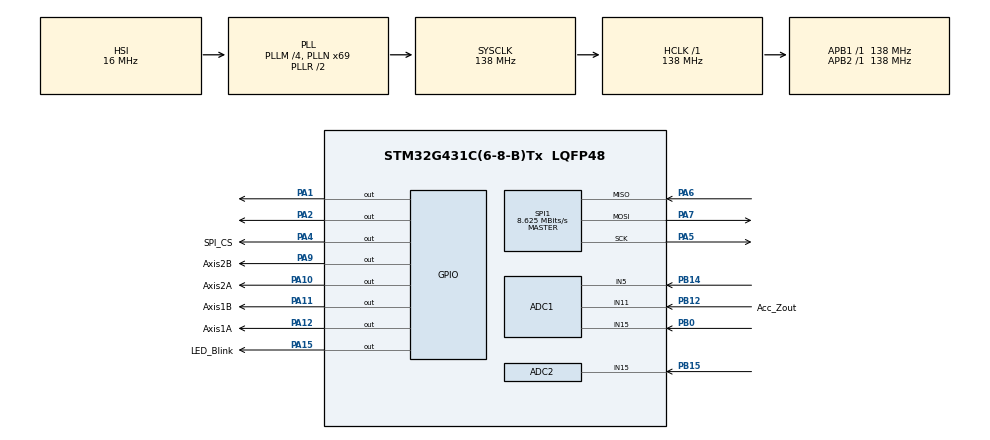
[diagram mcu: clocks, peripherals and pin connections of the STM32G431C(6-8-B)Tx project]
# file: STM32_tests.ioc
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ADC1.Channel-0\#ChannelRegularConversion=ADC_CHANNEL_11
ADC1.ClockPrescaler=ADC_CLOCK_ASYNC_DIV4
ADC1.ContinuousConvMode=ENABLE
ADC1.DMAContinuousRequests=ENABLE
ADC1.NbrOfConversionFlag=1
ADC1.OffsetNumber-0\#ChannelRegularConversion=ADC_OFFSET_NONE
ADC1.OversamplingMode=ENABLE
ADC1.Rank-0\#ChannelRegularConversion=1
ADC1.Ratio=ADC_OVERSAMPLING_RATIO_256
ADC1.RightBitShift=ADC_RIGHTBITSHIFT_4
ADC1.SamplingTime-0\#ChannelRegularConversion=ADC_SAMPLETIME_2CYCLES_5
ADC1.master=1
ADC2.Channel-1\#ChannelRegularConversion=ADC_CHANNEL_15
ADC2.ClockPrescaler=ADC_CLOCK_ASYNC_DIV4
ADC2.ContinuousConvMode=ENABLE
ADC2.NbrOfConversionFlag=1
ADC2.OffsetNumber-1\#ChannelRegularConversion=ADC_OFFSET_NONE
ADC2.OversamplingMode=ENABLE
ADC2.Rank-1\#ChannelRegularConversion=1
ADC2.Ratio=ADC_OVERSAMPLING_RATIO_256
ADC2.RightBitShift=ADC_RIGHTBITSHIFT_4
ADC2.SamplingTime-1\#ChannelRegularConversion=ADC_SAMPLETIME_2CYCLES_5
Dma.ADC1.0.Direction=DMA_PERIPH_TO_MEMORY
Dma.ADC1.0.EventEnable=DISABLE
Dma.ADC1.0.Instance=DMA1_Channel1
Dma.ADC1.0.MemDataAlignment=DMA_MDATAALIGN_HALFWORD
Dma.ADC1.0.MemInc=DMA_MINC_ENABLE
Dma.ADC1.0.Mode=DMA_CIRCULAR
Dma.ADC1.0.PeriphDataAlignment=DMA_PDATAALIGN_HALFWORD
Dma.ADC1.0.PeriphInc=DMA_PINC_DISABLE
Dma.ADC1.0.Polarity=HAL_DMAMUX_REQ_GEN_RISING
Dma.ADC1.0.Priority=DMA_PRIORITY_MEDIUM
Dma.ADC1.0.RequestNumber=1
Dma.ADC1.0.SignalID=NONE
Dma.ADC1.0.SyncEnable=DISABLE
Dma.ADC1.0.SyncPolarity=HAL_DMAMUX_SYNC_NO_EVENT
Dma.ADC1.0.SyncRequestNumber=1
Dma.ADC1.0.SyncSignalID=NONE
Dma.Request0=ADC1
Mcu.Family=STM32G4
Mcu.Name=STM32G431C(6-8-B)Tx
Mcu.Package=LQFP48
NVIC.DMA1_Channel1_IRQn=true\:0\:0\:false\:false\:true\:false\:true\:true
NVIC.PriorityGroup=NVIC_PRIORITYGROUP_4
NVIC.TIM6_DAC_IRQn=true\:0\:0\:false\:false\:true\:true\:true\:true
NVIC.TIM7_IRQn=true\:0\:0\:false\:false\:true\:true\:true\:true
PA1.Signal=GPIO_Output
PA10.GPIO_Label=Axis2A
PA10.Signal=GPIO_Output
PA11.GPIO_Label=Axis1B
PA11.Signal=GPIO_Output
PA12.GPIO_Label=Axis1A
PA12.Signal=GPIO_Output
PA13.Mode=Serial_Wire
PA13.Signal=SYS_JTMS-SWDIO
PA14.Mode=Serial_Wire
PA14.Signal=SYS_JTCK-SWCLK
PA15.GPIO_Label=LED_Blink
PA15.Signal=GPIO_Output
PA2.Signal=GPIO_Output
PA4.GPIO_Label=SPI_CS
PA4.Signal=GPIO_Output
PA5.Mode=Full_Duplex_Master
PA5.Signal=SPI1_SCK
PA6.Mode=Full_Duplex_Master
PA6.Signal=SPI1_MISO
PA7.Mode=Full_Duplex_Master
PA7.Signal=SPI1_MOSI
PA9.GPIO_Label=Axis2B
PA9.Signal=GPIO_Output
PB0.Mode=IN15-Single-Ended
PB0.Signal=ADC1_IN15
PB12.GPIO_Label=Acc_Zout
PB12.Mode=IN11-Single-Ended
PB12.Signal=ADC1_IN11
PB14.Mode=IN5-Single-Ended
PB14.Signal=ADC1_IN5
PB15.Mode=IN15-Single-Ended
PB15.Signal=ADC2_IN15
ProjectManager.HeapSize=0x200
ProjectManager.StackSize=0x400
ProjectManager.TargetToolchain=STM32CubeIDE
RCC.ADC12Freq_Value=138000000
RCC.AHBFreq_Value=138000000
RCC.APB1Freq_Value=138000000
RCC.APB1TimFreq_Value=138000000
RCC.APB2Freq_Value=138000000
RCC.APB2TimFreq_Value=138000000
RCC.CortexFreq_Value=138000000
RCC.EXTERNAL_CLOCK_VALUE=12288000
RCC.HCLKFreq_Value=138000000
RCC.HSE_VALUE=8000000
RCC.HSI48_VALUE=48000000
RCC.HSI_VALUE=16000000
RCC.LSE_VALUE=32768
RCC.PLLM=RCC_PLLM_DIV4
RCC.PLLN=69
RCC.SYSCLKFreq_VALUE=138000000
RCC.SYSCLKSource=RCC_SYSCLKSOURCE_PLLCLK
RCC.USBFreq_Value=138000000
RCC.VCOOutputFreq_Value=276000000
SPI1.BaudRatePrescaler=SPI_BAUDRATEPRESCALER_16
SPI1.CalculateBaudRate=8.625 MBits/s
SPI1.DataSize=SPI_DATASIZE_8BIT
SPI1.Direction=SPI_DIRECTION_2LINES
SPI1.Mode=SPI_MODE_MASTER
SPI1.NSSPMode=SPI_NSS_PULSE_DISABLE
SPI1.VirtualType=VM_MASTER
TIM6.PeriodNoDither=2874
TIM6.Prescaler=74
TIM7.PeriodNoDither=1999
TIM7.Prescaler=9
VP_SYS_VS_DBSignals.Mode=DisableDeadBatterySignals
VP_TIM6_VS_ClockSourceINT.Mode=Enable_Timer
VP_TIM7_VS_ClockSourceINT.Mode=Enable_Timer
board=custom

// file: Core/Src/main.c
/* USER CODE BEGIN Header */
/**
  ******************************************************************************
  * @file           : main.c
  * @brief          : Main program body — Kalman filter + quadrature output
  ******************************************************************************
  */
/* USER CODE END Header */

#include "main.h"

/* USER CODE BEGIN Includes */
#include "kalman.h"
#include "quadrature_output.h"
#include "stm32g4xx_it.h"
#include <math.h>
/* USER CODE END Includes */

/* USER CODE BEGIN PD */
#define CLOCK_SPEED 138000000.0f
/* USER CODE END PD */

ADC_HandleTypeDef hadc1;
ADC_HandleTypeDef hadc2;
DMA_HandleTypeDef hdma_adc1;
DMA_HandleTypeDef hdma_adc2;   /* CubeMX omitted this — added back */

SPI_HandleTypeDef hspi1;

TIM_HandleTypeDef htim6;
TIM_HandleTypeDef htim7;

/* USER CODE BEGIN PV */
/* --- Accelerometer (ADC, DMA) --- */
/* Calibration: zero-g offset (16-bit counts) and sensitivity (counts/g)
 * Measured on hardware at 138 MHz, ADC_CLOCK_ASYNC_DIV4, 256x oversample >>4 */
#define ACCEL_X_ZERO_G  17286
#define ACCEL_X_SENS    3887.0f
#define ACCEL_Y_ZERO_G  17899
#define ACCEL_Y_SENS    3971.0f
#define ACCEL_Z_ZERO_G  17899
#define ACCEL_Z_SENS    3971.0f

volatile uint16_t adc_buf[2] = {0};  /* [0]=Y (CH5/PB14), [1]=Z (CH11/PB12) */
volatile uint16_t adc_x      = 0;    /* X  (CH15/PB15, ADC2) */
volatile float    accel_x    = 0.0f;
volatile float    accel_y    = 0.0f;
volatile float    accel_z    = 0.0f;

/* --- Gyroscope (SPI, ICM-42688 or compatible) --- */
#define MAX_CODE			 32768.0
#define MAX_DPS				 250
#define SENSITIVITY			 (float) MAX_CODE / MAX_DPS

#define IMU_REG_PWR_MGMT_1   0x6B
#define IMU_REG_USER_CTRL    0x6A

#define IMU_REG_WHO_AM_I     0x75
#define IMU_WHO_AM_I_VAL     0xB5

#define IMU_REG_GYRO_XOUT_H  0x43

#define IMU_CS_PORT          GPIOA
#define IMU_CS_PIN           SPI_CS_Pin
#define IMU_CS_LOW()         HAL_GPIO_WritePin(IMU_CS_PORT, IMU_CS_PIN, GPIO_PIN_RESET)
#define IMU_CS_HIGH()        HAL_GPIO_WritePin(IMU_CS_PORT, IMU_CS_PIN, GPIO_PIN_SET)

volatile uint8_t who_am_i = 0;
static volatile float   gyro_x   = 0.0f;  /* deg/s */
static volatile float   gyro_y   = 0.0f;
static volatile float   gyro_z   = 0.0f;

/* --- Loggers --- */
#define LOG_SIZE 512

static volatile uint32_t log_idx = 0;
static volatile float log_dt[LOG_SIZE];
static volatile float log_roll[LOG_SIZE];
static volatile float log_pitch[LOG_SIZE];
static volatile float log_gyro_x[LOG_SIZE];
static volatile float log_gyro_y[LOG_SIZE];
static volatile float log_gyro_z[LOG_SIZE];
static volatile float log_accel_x[LOG_SIZE];
static volatile float log_accel_y[LOG_SIZE];
static volatile float log_accel_z[LOG_SIZE];
static volatile int   log_axis1_a[LOG_SIZE];
static volatile int   log_axis1_b[LOG_SIZE];

static volatile float log_dt_s;
static volatile float log_roll_s;
static volatile float log_pitch_s;
static volatile float log_gyro_x_s;
static volatile float log_gyro_y_s;
static volatile float log_gyro_z_s;
static volatile float log_accel_x_s;
static volatile float log_accel_y_s;
static volatile float log_accel_z_s;
static volatile int   log_axis1_a_s;
static volatile int   log_axis1_b_s;

/* --- I2C (to Arduino) --- */
#define SLAVE_ADDRESS 0x48
typedef struct __attribute__((packed)) {
    uint8_t header;      // always 0xAA
    uint8_t counter;     // increments every packet
    int16_t pitch_x100;  // pitch in degrees * 100
    int16_t roll_x100;   // roll in degrees * 100
} imu_packet_t;

/* USER CODE END PV */

void SystemClock_Config(void);
static void MX_GPIO_Init(void);
static void MX_DMA_Init(void);
static void MX_ADC1_Init(void);
static void MX_SPI1_Init(void);
static void MX_ADC2_Init(void);
static void MX_TIM6_Init(void);
static void MX_TIM7_Init(void);

/* USER CODE BEGIN PFP */
static void     DWT_Init(void);
static float    ComputeKalmanDT(void);
static uint8_t  IMU_ReadReg(uint8_t reg);
static void     IMU_WriteReg(uint8_t reg, uint8_t data);
static void     IMU_ReadBurst(uint8_t reg, uint8_t *buf, uint8_t len);
/* USER CODE END PFP */

/* USER CODE BEGIN 0 */

/* --- ADC conversion complete callback (called from DMA ISR) --- */
void HAL_ADC_ConvCpltCallback(ADC_HandleTypeDef *hadc)
{
    if (hadc->Instance == ADC1)
    {
        accel_y = ((float)adc_buf[0] - ACCEL_Y_ZERO_G) / ACCEL_Y_SENS;
        accel_z = ((float)adc_buf[1] - ACCEL_Z_ZERO_G) / ACCEL_Z_SENS;
    }
    else if (hadc->Instance == ADC2)
    {
        accel_x = ((float)adc_x - ACCEL_X_ZERO_G) / ACCEL_X_SENS;
    }
}

/* --- SPI / IMU helpers --- */
static void IMU_WriteReg(uint8_t reg, uint8_t data)
{
    uint8_t tx[2] = { reg & 0x7F, data };
    IMU_CS_LOW();
    HAL_SPI_Transmit(&hspi1, tx, 2, HAL_MAX_DELAY);
    IMU_CS_HIGH();
}

static uint8_t IMU_ReadReg(uint8_t reg)
{
    uint8_t tx[2] = { reg | 0x80, 0x00 };
    uint8_t rx[2] = { 0x00, 0x00 };
    IMU_CS_LOW();
    HAL_SPI_TransmitReceive(&hspi1, tx, rx, 2, HAL_MAX_DELAY);
    IMU_CS_HIGH();
    return rx[1];
}

static void IMU_ReadBurst(uint8_t reg, uint8_t *buf, uint8_t len)
{
    uint8_t addr = reg | 0x80;
    IMU_CS_LOW();
    HAL_SPI_Transmit(&hspi1, &addr, 1, HAL_MAX_DELAY);
    HAL_SPI_Receive(&hspi1, buf, len, HAL_MAX_DELAY);
    IMU_CS_HIGH();
}

/* --- DWT cycle counter for precise dt --- */
static void DWT_Init(void)
{
    CoreDebug->DEMCR |= CoreDebug_DEMCR_TRCENA_Msk;
    DWT->CYCCNT = 0;
    DWT->CTRL  |= DWT_CTRL_CYCCNTENA_Msk;
}

static float ComputeKalmanDT(void)
{
    static uint32_t last_tick  = 0;
    static bool     initialized = false;
    uint32_t now = DWT->CYCCNT;
    if (!initialized) { last_tick = now; initialized = true; return 0.0f; }
    float dt = (float)(now - last_tick) / CLOCK_SPEED;
    last_tick = now;
    return dt;
}

/* USER CODE END 0 */

/* =========================================================================
 * main
 * ========================================================================= */
int main(void)
{

  HAL_Init();

  SystemClock_Config();

  /* USER CODE BEGIN SysInit */
  DWT_Init();
  /* USER CODE END SysInit */

  MX_GPIO_Init();
  MX_DMA_Init();
  MX_ADC1_Init();
  MX_SPI1_Init();
  MX_ADC2_Init();
  MX_TIM6_Init();
  MX_TIM7_Init();

  /* USER CODE BEGIN 2 */

  /* Start timers (interrupt mode) */
  HAL_TIM_Base_Start_IT(&htim6);   /* 640  Hz — Kalman flag */
  HAL_TIM_Base_Start_IT(&htim7);   /* 6900 Hz — Quad flag   */

  /* Calibrate and start ADC DMA */
  HAL_ADCEx_Calibration_Start(&hadc1, ADC_SINGLE_ENDED);
  HAL_ADCEx_Calibration_Start(&hadc2, ADC_SINGLE_ENDED);
  HAL_ADC_Start_DMA(&hadc1, (uint32_t*)adc_buf, 2);
  HAL_ADC_Start_DMA(&hadc2, (uint32_t*)&adc_x,  1);

  /* IMU init */
  IMU_CS_HIGH();
  HAL_Delay(100);
  who_am_i = IMU_ReadReg(IMU_REG_WHO_AM_I);

  if (who_am_i == IMU_WHO_AM_I_VAL)
  {
	  // RESET + CLKSEL
	  IMU_WriteReg(0x6B, 0x80);
	  HAL_Delay(100);
	  IMU_WriteReg(0x6B, 0x01);
	  HAL_Delay(50);

      IMU_WriteReg(IMU_REG_USER_CTRL, 0x10);    /* disable I2C */
      IMU_WriteReg(0x6C, 0x00);   // PWR_MGMT_2: enable all gyro axes (XG, YG, ZG)
      IMU_WriteReg(0x1A, 0x05);   // CONFIG: DLPF_CFG=5, 10 Hz BW, 1 kHz internal rate
      IMU_WriteReg(0x1B, 0x00);   // GYRO_CONFIG: FS_SEL=0 (±250 dps), DLPF enabled
      IMU_WriteReg(0x19, 0x00);   // SMPLRT_DIV=0 -> 1000 Hz output rate
      HAL_Delay(50);              // Final settle
  }

  /* Kalman filter structures */
  StateVector            state_vector            = StateVector_Construct();
  ErrorCovarianceMatrix  error_covariance_matrix = ErrorCovarianceMatrix_Construct();
  const ProcessNoiseMatrix     process_noise_matrix     = ProcessNoiseMatrix_Construct();
  const MeasurementNoiseMatrix measurement_noise_matrix = MeasurementNoiseMatrix_Construct();

  /* Quadrature output — 4096 CPR, 1 axis (pitch) */
  QuadratureOutput quad_pkg = QuadratureOutput_Construct(4096, 1);
  QuadratureOutput_Initialize(&quad_pkg, 0.0, 0.0);

  HAL_GPIO_TogglePin(GPIOA, LED_Blink_Pin);   /* signal init complete */

  /* USER CODE END 2 */

  while (1)
  {

  /* USER CODE BEGIN 3 */
	imu_packet_t packet;
	packet.header = 0xAA;
	packet.counter = 0;

    /* ---- Quadrature output @ ~6900 Hz ---- */
	/* ---- Kalman filter @ 640 Hz ---- */
	if (GetKalmanReady()) {
		GyroSample gyro_sample = {0};
		AccelSample accel_sample = {0};

		float dt = ComputeKalmanDT();
		if (dt > 0.0f) {
			/* Read gyro (deg/s → rad/s) */
			if (who_am_i == IMU_WHO_AM_I_VAL) {
				uint8_t buf[6];
				IMU_ReadBurst(IMU_REG_GYRO_XOUT_H, buf, 6);
				gyro_x = (int16_t)((buf[0] << 8) | buf[1]);
				gyro_y = (int16_t)((buf[2] << 8) | buf[3]);
				gyro_z = (int16_t)((buf[4] << 8) | buf[5]);
				gyro_sample.gx = (float)gyro_x / SENSITIVITY * (M_PI / 180.0f);
				gyro_sample.gy = (float)gyro_y / SENSITIVITY * (M_PI / 180.0f);
				gyro_sample.gz = (float)gyro_z / SENSITIVITY * (M_PI / 180.0f);
			}

			/* Read accelerometer (already in g, updated by DMA callback) */
			accel_sample.ax = accel_x;
			accel_sample.ay = accel_y;
			accel_sample.az = accel_z;

			/* Run Kalman filter */
			kalman_run(dt,
					   &state_vector,
					   &error_covariance_matrix,
					   &gyro_sample,
					   &accel_sample,
					   &process_noise_matrix,
					   &measurement_noise_matrix);
		}

        /* Convert pitch (rad) to degrees for quadrature output */
        double pitch_deg = (double)state_vector.vector[PITCH] * (180.0 / M_PI);
        QuadratureOutput_Update(&quad_pkg, pitch_deg, 0.0);

        if(log_idx > LOG_SIZE) {
        	int help = 100;
        }
        else if (log_idx == 0) {
            log_dt[log_idx] = dt;

            log_roll[log_idx] = state_vector.vector[ROLL] * (180.0 / M_PI);;
            log_pitch[log_idx] = state_vector.vector[PITCH] * (180.0 / M_PI);;

            log_gyro_x[log_idx] = gyro_sample.gx;
            log_gyro_y[log_idx] = gyro_sample.gy;
            log_gyro_z[log_idx] = gyro_sample.gz;

            log_accel_x[log_idx] = accel_sample.ax;
            log_accel_y[log_idx] = accel_sample.ay;
            log_accel_z[log_idx] = accel_sample.az;

            log_axis1_a[log_idx] = quad_pkg.axis1.channel_a;
            log_axis1_b[log_idx] = quad_pkg.axis1.channel_b;

    		log_idx++;
        }
        else if (log_axis1_a[log_idx-1] == quad_pkg.axis1.channel_a && log_axis1_b[log_idx-1] == quad_pkg.axis1.channel_b ) {
        	// SKIP
        }
        else {
            log_dt[log_idx] = dt;

            log_roll[log_idx] = state_vector.vector[ROLL] * (180.0 / M_PI);;
            log_pitch[log_idx] = state_vector.vector[PITCH] * (180.0 / M_PI);;

            log_gyro_x[log_idx] = gyro_sample.gx;
            log_gyro_y[log_idx] = gyro_sample.gy;
            log_gyro_z[log_idx] = gyro_sample.gz;

            log_accel_x[log_idx] = accel_sample.ax;
            log_accel_y[log_idx] = accel_sample.ay;
            log_accel_z[log_idx] = accel_sample.az;

            log_axis1_a[log_idx] = quad_pkg.axis1.channel_a;
            log_axis1_b[log_idx] = quad_pkg.axis1.channel_b;

    		log_idx++;
        }
      	log_dt_s = dt;

      	log_roll_s = state_vector.vector[ROLL] * (180.0 / M_PI);
      	log_pitch_s  = state_vector.vector[ROLL] * (180.0 / M_PI);

      	log_gyro_x_s = gyro_sample.gx;
      	log_gyro_y_s = gyro_sample.gy;
      	log_gyro_z_s = gyro_sample.gz;

      	log_accel_x_s = accel_sample.ax;
      	log_accel_y_s = accel_sample.ay;
      	log_accel_z_s = accel_sample.az;

      	log_axis1_a_s = quad_pkg.axis1.channel_a;
      	log_axis1_b_s = quad_pkg.axis1.channel_b;

      	packet.roll_x100 = (int16_t)(log_roll_s * 100);
      	packet.pitch_x100 = (int16_t)(log_pitch_s * 100);

      	//HAL_I2C_MASTER_Transmit(&hi2c1, (SLAVE_ADDRESS << 1), (uint8_t *)&packet, sizeof(packet), 1);
      	packet.counter++;
	}
	if (GetQuadReady()) {
        /* Drive GPIO pins from quadrature state */
        HAL_GPIO_WritePin(GPIOA, Axis1A_Pin, quad_pkg.axis1.channel_a ? GPIO_PIN_SET : GPIO_PIN_RESET);
        HAL_GPIO_WritePin(GPIOA, Axis1B_Pin, quad_pkg.axis1.channel_b ? GPIO_PIN_SET : GPIO_PIN_RESET);
    }

  /* USER CODE END 3 */
  }
}

/* =========================================================================
 * SystemClock_Config — 138 MHz via HSI PLL (PLLN=69)
 * ========================================================================= */
void SystemClock_Config(void)
{
  RCC_OscInitTypeDef RCC_OscInitStruct = {0};
  RCC_ClkInitTypeDef RCC_ClkInitStruct = {0};

  HAL_PWREx_ControlVoltageScaling(PWR_REGULATOR_VOLTAGE_SCALE1);

  RCC_OscInitStruct.OscillatorType      = RCC_OSCILLATORTYPE_HSI;
  RCC_OscInitStruct.HSIState            = RCC_HSI_ON;
  RCC_OscInitStruct.HSICalibrationValue = RCC_HSICALIBRATION_DEFAULT;
  RCC_OscInitStruct.PLL.PLLState        = RCC_PLL_ON;
  RCC_OscInitStruct.PLL.PLLSource       = RCC_PLLSOURCE_HSI;
  RCC_OscInitStruct.PLL.PLLM           = RCC_PLLM_DIV4;
  RCC_OscInitStruct.PLL.PLLN           = 69;
  RCC_OscInitStruct.PLL.PLLP           = RCC_PLLP_DIV2;
  RCC_OscInitStruct.PLL.PLLQ           = RCC_PLLQ_DIV2;
  RCC_OscInitStruct.PLL.PLLR           = RCC_PLLR_DIV2;
  if (HAL_RCC_OscConfig(&RCC_OscInitStruct) != HAL_OK) Error_Handler();

  RCC_ClkInitStruct.ClockType      = RCC_CLOCKTYPE_HCLK | RCC_CLOCKTYPE_SYSCLK
                                   | RCC_CLOCKTYPE_PCLK1 | RCC_CLOCKTYPE_PCLK2;
  RCC_ClkInitStruct.SYSCLKSource   = RCC_SYSCLKSOURCE_PLLCLK;
  RCC_ClkInitStruct.AHBCLKDivider  = RCC_SYSCLK_DIV1;
  RCC_ClkInitStruct.APB1CLKDivider = RCC_HCLK_DIV1;
  RCC_ClkInitStruct.APB2CLKDivider = RCC_HCLK_DIV1;
  if (HAL_RCC_ClockConfig(&RCC_ClkInitStruct, FLASH_LATENCY_4) != HAL_OK) Error_Handler();
}

/* =========================================================================
 * ADC1 — channels 5 (Y) and 11 (Z), scan mode, DMA circular
 * ========================================================================= */
static void MX_ADC1_Init(void)
{

  ADC_MultiModeTypeDef multimode = {0};
  ADC_ChannelConfTypeDef sConfig = {0};

  hadc1.Instance                   = ADC1;
  hadc1.Init.ClockPrescaler        = ADC_CLOCK_ASYNC_DIV4;
  hadc1.Init.Resolution            = ADC_RESOLUTION_12B;
  hadc1.Init.DataAlign             = ADC_DATAALIGN_RIGHT;
  hadc1.Init.GainCompensation      = 0;
  hadc1.Init.ScanConvMode          = ADC_SCAN_ENABLE;      /* FIX: was DISABLE */
  hadc1.Init.EOCSelection          = ADC_EOC_SEQ_CONV;
  hadc1.Init.LowPowerAutoWait      = DISABLE;
  hadc1.Init.ContinuousConvMode    = ENABLE;
  hadc1.Init.NbrOfConversion       = 2;                    /* FIX: was 1 */
  hadc1.Init.DiscontinuousConvMode = DISABLE;
  hadc1.Init.ExternalTrigConv      = ADC_SOFTWARE_START;
  hadc1.Init.ExternalTrigConvEdge  = ADC_EXTERNALTRIGCONVEDGE_NONE;
  hadc1.Init.DMAContinuousRequests = ENABLE;
  hadc1.Init.Overrun               = ADC_OVR_DATA_PRESERVED;
  hadc1.Init.OversamplingMode      = ENABLE;
  hadc1.Init.Oversampling.Ratio              = ADC_OVERSAMPLING_RATIO_256;
  hadc1.Init.Oversampling.RightBitShift      = ADC_RIGHTBITSHIFT_4;
  hadc1.Init.Oversampling.TriggeredMode      = ADC_TRIGGEREDMODE_SINGLE_TRIGGER;
  hadc1.Init.Oversampling.OversamplingStopReset = ADC_REGOVERSAMPLING_RESUMED_MODE;
  if (HAL_ADC_Init(&hadc1) != HAL_OK) Error_Handler();

  multimode.Mode = ADC_MODE_INDEPENDENT;
  if (HAL_ADCEx_MultiModeConfigChannel(&hadc1, &multimode) != HAL_OK) Error_Handler();

  /* Channel 5 — Y axis (PB14), rank 1 */
  sConfig.Channel      = ADC_CHANNEL_5;
  sConfig.Rank         = ADC_REGULAR_RANK_1;
  sConfig.SamplingTime = ADC_SAMPLETIME_92CYCLES_5;   /* FIX: was 2.5 cycles */
  sConfig.SingleDiff   = ADC_SINGLE_ENDED;
  sConfig.OffsetNumber = ADC_OFFSET_NONE;
  sConfig.Offset       = 0;
  if (HAL_ADC_ConfigChannel(&hadc1, &sConfig) != HAL_OK) Error_Handler();

  /* Channel 11 — Z axis (PB12), rank 2 */            /* FIX: was only ch11 */
  sConfig.Channel = ADC_CHANNEL_11;
  sConfig.Rank    = ADC_REGULAR_RANK_2;
  if (HAL_ADC_ConfigChannel(&hadc1, &sConfig) != HAL_OK) Error_Handler();

}

/* =========================================================================
 * ADC2 — channel 15 (X axis, PB15), single channel, DMA circular
 * ========================================================================= */
static void MX_ADC2_Init(void)
{

  ADC_ChannelConfTypeDef sConfig = {0};

  hadc2.Instance                   = ADC2;
  hadc2.Init.ClockPrescaler        = ADC_CLOCK_ASYNC_DIV4;
  hadc2.Init.Resolution            = ADC_RESOLUTION_12B;
  hadc2.Init.DataAlign             = ADC_DATAALIGN_RIGHT;
  hadc2.Init.GainCompensation      = 0;
  hadc2.Init.ScanConvMode          = ADC_SCAN_DISABLE;
  hadc2.Init.EOCSelection          = ADC_EOC_SEQ_CONV;
  hadc2.Init.LowPowerAutoWait      = DISABLE;
  hadc2.Init.ContinuousConvMode    = ENABLE;
  hadc2.Init.NbrOfConversion       = 1;
  hadc2.Init.DiscontinuousConvMode = DISABLE;
  hadc2.Init.ExternalTrigConv      = ADC_SOFTWARE_START;
  hadc2.Init.ExternalTrigConvEdge  = ADC_EXTERNALTRIGCONVEDGE_NONE;
  hadc2.Init.DMAContinuousRequests = ENABLE;             /* FIX: was DISABLE */
  hadc2.Init.Overrun               = ADC_OVR_DATA_PRESERVED;
  hadc2.Init.OversamplingMode      = ENABLE;
  hadc2.Init.Oversampling.Ratio              = ADC_OVERSAMPLING_RATIO_256;
  hadc2.Init.Oversampling.RightBitShift      = ADC_RIGHTBITSHIFT_4;
  hadc2.Init.Oversampling.TriggeredMode      = ADC_TRIGGEREDMODE_SINGLE_TRIGGER;
  hadc2.Init.Oversampling.OversamplingStopReset = ADC_REGOVERSAMPLING_RESUMED_MODE;
  if (HAL_ADC_Init(&hadc2) != HAL_OK) Error_Handler();

  /* Channel 15 — X axis (PB15) */
  sConfig.Channel      = ADC_CHANNEL_15;
  sConfig.Rank         = ADC_REGULAR_RANK_1;
  sConfig.SamplingTime = ADC_SAMPLETIME_92CYCLES_5;   /* FIX: was 2.5 cycles */
  sConfig.SingleDiff   = ADC_SINGLE_ENDED;
  sConfig.OffsetNumber = ADC_OFFSET_NONE;
  sConfig.Offset       = 0;
  if (HAL_ADC_ConfigChannel(&hadc2, &sConfig) != HAL_OK) Error_Handler();

}

/* =========================================================================
 * SPI1 — IMU, /32 prescaler = 4.3 MHz at 138 MHz
 * ========================================================================= */
static void MX_SPI1_Init(void)
{

  hspi1.Instance               = SPI1;
  hspi1.Init.Mode              = SPI_MODE_MASTER;
  hspi1.Init.Direction         = SPI_DIRECTION_2LINES;
  hspi1.Init.DataSize          = SPI_DATASIZE_8BIT;
  hspi1.Init.CLKPolarity       = SPI_POLARITY_LOW;
  hspi1.Init.CLKPhase          = SPI_PHASE_1EDGE;
  hspi1.Init.NSS               = SPI_NSS_SOFT;
  hspi1.Init.BaudRatePrescaler = SPI_BAUDRATEPRESCALER_32;  /* FIX: was /16 */
  hspi1.Init.FirstBit          = SPI_FIRSTBIT_MSB;
  hspi1.Init.TIMode            = SPI_TIMODE_DISABLE;
  hspi1.Init.CRCCalculation    = SPI_CRCCALCULATION_DISABLE;
  hspi1.Init.CRCPolynomial     = 7;
  hspi1.Init.CRCLength         = SPI_CRC_LENGTH_DATASIZE;
  hspi1.Init.NSSPMode          = SPI_NSS_PULSE_DISABLE;
  if (HAL_SPI_Init(&hspi1) != HAL_OK) Error_Handler();

}

/* =========================================================================
 * TIM6 — 640 Hz Kalman trigger
 * 138 MHz / (74+1) / (2874+1) = 640.000 Hz
 * ========================================================================= */
static void MX_TIM6_Init(void)
{

  TIM_MasterConfigTypeDef sMasterConfig = {0};

  htim6.Instance               = TIM6;
  htim6.Init.Prescaler         = 74;
  htim6.Init.CounterMode       = TIM_COUNTERMODE_UP;
  htim6.Init.Period            = 2874;
  htim6.Init.AutoReloadPreload = TIM_AUTORELOAD_PRELOAD_DISABLE;
  if (HAL_TIM_Base_Init(&htim6) != HAL_OK) Error_Handler();

  sMasterConfig.MasterOutputTrigger = TIM_TRGO_RESET;
  sMasterConfig.MasterSlaveMode     = TIM_MASTERSLAVEMODE_DISABLE;
  if (HAL_TIMEx_MasterConfigSynchronization(&htim6, &sMasterConfig) != HAL_OK) Error_Handler();

}

/* =========================================================================
 * TIM7 — 6900 Hz quadrature trigger
 * 138 MHz / (9+1) / (1999+1) = 6900.000 Hz
 * ========================================================================= */
static void MX_TIM7_Init(void)
{

  TIM_MasterConfigTypeDef sMasterConfig = {0};

  htim7.Instance               = TIM7;
  htim7.Init.Prescaler         = 9;
  htim7.Init.CounterMode       = TIM_COUNTERMODE_UP;
  htim7.Init.Period            = 1999;
  htim7.Init.AutoReloadPreload = TIM_AUTORELOAD_PRELOAD_DISABLE;
  if (HAL_TIM_Base_Init(&htim7) != HAL_OK) Error_Handler();

  sMasterConfig.MasterOutputTrigger = TIM_TRGO_RESET;
  sMasterConfig.MasterSlaveMode     = TIM_MASTERSLAVEMODE_DISABLE;
  if (HAL_TIMEx_MasterConfigSynchronization(&htim7, &sMasterConfig) != HAL_OK) Error_Handler();

}

/* =========================================================================
 * DMA — channels 1 (ADC1) and 2 (ADC2)
 * ========================================================================= */
static void MX_DMA_Init(void)
{
  __HAL_RCC_DMAMUX1_CLK_ENABLE();
  __HAL_RCC_DMA1_CLK_ENABLE();

  /* ADC1 — DMA1 Channel 1 */
  HAL_NVIC_SetPriority(DMA1_Channel1_IRQn, 0, 0);
  HAL_NVIC_EnableIRQ(DMA1_Channel1_IRQn);

  /* ADC2 — DMA1 Channel 2 (FIX: CubeMX omitted this) */
  HAL_NVIC_SetPriority(DMA1_Channel2_IRQn, 0, 0);
  HAL_NVIC_EnableIRQ(DMA1_Channel2_IRQn);
}

/* =========================================================================
 * GPIO
 * ========================================================================= */
static void MX_GPIO_Init(void)
{
  GPIO_InitTypeDef GPIO_InitStruct = {0};

  __HAL_RCC_GPIOA_CLK_ENABLE();
  __HAL_RCC_GPIOB_CLK_ENABLE();

  HAL_GPIO_WritePin(GPIOA,
      GPIO_PIN_1 | GPIO_PIN_2 | SPI_CS_Pin |
      Axis2B_Pin | Axis2A_Pin | Axis1B_Pin | Axis1A_Pin | LED_Blink_Pin,
      GPIO_PIN_RESET);

  GPIO_InitStruct.Pin   = GPIO_PIN_1 | GPIO_PIN_2 | SPI_CS_Pin |
                          Axis2B_Pin | Axis2A_Pin | Axis1B_Pin | Axis1A_Pin | LED_Blink_Pin;
  GPIO_InitStruct.Mode  = GPIO_MODE_OUTPUT_PP;
  GPIO_InitStruct.Pull  = GPIO_NOPULL;
  GPIO_InitStruct.Speed = GPIO_SPEED_FREQ_LOW;
  HAL_GPIO_Init(GPIOA, &GPIO_InitStruct);

  /* USER CODE BEGIN MX_GPIO_Init_2 */
  HAL_GPIO_WritePin(GPIOA, SPI_CS_Pin, GPIO_PIN_SET);  /* deselect IMU */
  /* USER CODE END MX_GPIO_Init_2 */
}

void Error_Handler(void)
{
  __disable_irq();
  while (1) {}
}
